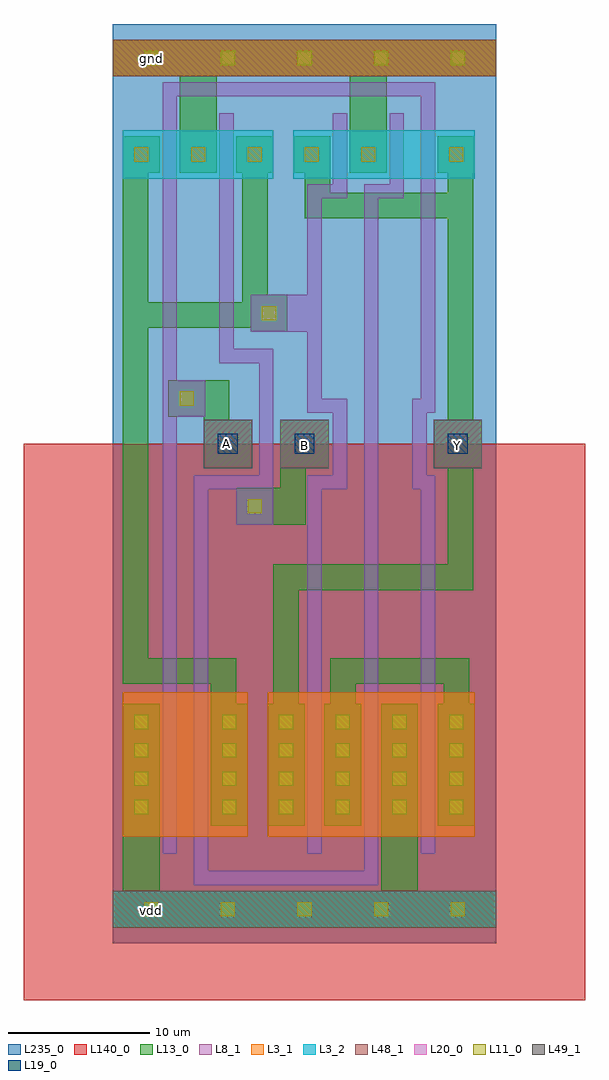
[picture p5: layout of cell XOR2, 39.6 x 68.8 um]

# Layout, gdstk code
import gdstk
lib = gdstk.Library(unit=1e-6, precision=1e-09)
def R(c, l, rs):  # rectangles x0, y0, x1, y1
    for r in rs: c.add(gdstk.rectangle(r[:2], r[2:], *l))
def A(c, l, x, y, w, h, nx, ny, dx, dy):  # array of equal rectangles
    R(c, l, [(x+i*dx, y+j*dy, x+i*dx+w, y+j*dy+h) for i in range(nx) for j in range(ny)])
def P(c, l, *ps):  # polygons
    for p in ps: c.add(gdstk.Polygon(p, *l))
L3_1 = (3, 1)
L3_2 = (3, 2)
L8_1 = (8, 1)
L11_0 = (11, 0)
L13_0 = (13, 0)
L19_0 = (19, 0)
L20_0 = (20, 0)
L48_1 = (48, 1)
L49_1 = (49, 1)
L140_0 = (140, 0)
L235_0 = (235, 0)

xor2 = lib.new_cell('XOR2')
R(xor2, L3_1, [(0.7,-57.3,9.5,-47.1), (10.9,-57.3,25.5,-47.1), (0,-3.7,27,-1.1)])
R(xor2, L3_2, [(0,-63.7,27,-61.1), (0.7,-10.9,11.3,-7.5), (12.7,-10.9,25.5,-7.5)])
P(xor2, L8_1, [(13.7,-58.5),(13.7,-31.8),(15.5,-31.8),(15.5,-27.4),(13.7,-27.4),(13.7,-21.7),(9.7,-21.7),(9.7,-19.1),(13.7,-19.1),(13.7,-11.3),(15.5,-11.3),(15.5,-6.3),(16.5,-6.3),(16.5,-12.3),(14.7,-12.3),(14.7,-26.4),(16.5,-26.4),(16.5,-32.8),(14.7,-32.8),(14.7,-58.5)],
  [(3.5,-58.5),(3.5,-4.1),(22.7,-4.1),(22.7,-27.4),(22.1,-27.4),(22.1,-31.8),(22.7,-31.8),(22.7,-58.5),(21.7,-58.5),(21.7,-32.8),(21.1,-32.8),(21.1,-26.4),(21.7,-26.4),(21.7,-5.1),(4.5,-5.1),(4.5,-25.1),(6.5,-25.1),(6.5,-27.7),(4.5,-27.7),(4.5,-58.5)],
  [(5.7,-60.7),(5.7,-31.8),(10.3,-31.8),(10.3,-23.9),(7.5,-23.9),(7.5,-6.3),(8.5,-6.3),(8.5,-22.9),(11.3,-22.9),(11.3,-35.3),(8.7,-35.3),(8.7,-32.8),(6.7,-32.8),(6.7,-59.7),(17.7,-59.7),(17.7,-11.3),(19.5,-11.3),(19.5,-6.3),(20.5,-6.3),(20.5,-12.3),(18.7,-12.3),(18.7,-60.7)])
A(xor2, L11_0, 2.2, -62.9, 1, 1, 5, 2, 5.4, 60)
A(xor2, L11_0, 1.5, -55.7, 1, 1, 1, 4, 0, 2)
A(xor2, L11_0, 7.7, -55.7, 1, 1, 5, 4, 4, 2)
A(xor2, L11_0, 1.5, -9.7, 1, 1, 5, 1, 4, 0)
R(xor2, L11_0, [(9.5,-34.5,10.5,-33.5), (4.7,-26.9,5.7,-25.9), (10.5,-20.9,11.5,-19.9), (17.5,-9.7,18.5,-8.7), (23.7,-9.7,24.7,-8.7)])
R(xor2, L13_0, [(0,-63.7,27,-61.1), (0.7,-61.1,3.3,-47.9), (18.9,-61.1,21.5,-47.9), (4.7,-10.5,7.3,-3.7), (16.7,-10.5,19.3,-7.9), (16.7,-10.5,19.3,-3.7), (0,-3.7,27,-1.1)])
P(xor2, L13_0, [(6.4,-31.3),(6.4,-27.7),(3.9,-27.7),(3.9,-25.1),(8.2,-25.1),(8.2,-27.9),(9.8,-27.9),(9.8,-31.3)],
  [(8.7,-35.3),(8.7,-32.7),(11.8,-32.7),(11.8,-27.9),(15.2,-27.9),(15.2,-31.3),(13.6,-31.3),(13.6,-35.3)],
  [(6.9,-56.5),(6.9,-46.5),(0.7,-46.5),(0.7,-7.9),(3.3,-7.9),(3.3,-10.5),(2.5,-10.5),(2.5,-19.6),(9.1,-19.6),(9.1,-10.5),(8.7,-10.5),(8.7,-7.9),(11.3,-7.9),(11.3,-10.5),(10.9,-10.5),(10.9,-19.1),(12.3,-19.1),(12.3,-21.7),(9.7,-21.7),(9.7,-21.4),(2.5,-21.4),(2.5,-44.7),(8.7,-44.7),(8.7,-47.9),(9.5,-47.9),(9.5,-56.5)],
  [(10.9,-56.5),(10.9,-47.9),(11.3,-47.9),(11.3,-38.1),(23.6,-38.1),(23.6,-31.3),(22.6,-31.3),(22.6,-27.9),(23.6,-27.9),(23.6,-13.7),(13.5,-13.7),(13.5,-10.5),(12.7,-10.5),(12.7,-7.9),(15.3,-7.9),(15.3,-11.9),(23.6,-11.9),(23.6,-10.5),(22.9,-10.5),(22.9,-7.9),(25.5,-7.9),(25.5,-10.5),(25.4,-10.5),(25.4,-27.9),(26,-27.9),(26,-31.3),(25.4,-31.3),(25.4,-39.9),(13.1,-39.9),(13.1,-47.9),(13.5,-47.9),(13.5,-56.5)],
  [(14.9,-56.5),(14.9,-47.9),(15.3,-47.9),(15.3,-44.7),(25.1,-44.7),(25.1,-47.9),(25.5,-47.9),(25.5,-56.5),(22.9,-56.5),(22.9,-47.9),(23.3,-47.9),(23.3,-46.5),(17.1,-46.5),(17.1,-47.9),(17.5,-47.9),(17.5,-56.5)])
R(xor2, L19_0, [(7.4,-30.3,8.8,-28.9), (7.4,-30.3,8.8,-28.9), (7.4,-30.3,8.8,-28.9), (12.8,-30.3,14.2,-28.9), (12.8,-30.3,14.2,-28.9), (12.8,-30.3,14.2,-28.9), (12.8,-30.3,14.2,-28.9), (23.6,-30.3,25,-28.9), (23.6,-30.3,25,-28.9), (23.6,-30.3,25,-28.9), (23.6,-30.3,25,-28.9)])
R(xor2, L20_0, [(6.4,-31.3,9.8,-27.9), (6.4,-31.3,9.8,-27.9), (6.4,-31.3,9.8,-27.9), (11.8,-31.3,15.2,-27.9), (11.8,-31.3,15.2,-27.9), (11.8,-31.3,15.2,-27.9), (11.8,-31.3,15.2,-27.9), (22.6,-31.3,26,-27.9), (22.6,-31.3,26,-27.9), (22.6,-31.3,26,-27.9), (22.6,-31.3,26,-27.9)])
R(xor2, L48_1, [(0,-63.7,27,-61.1), (0,-3.7,27,-1.1)])
R(xor2, L49_1, [(6.4,-31.3,9.8,-27.9), (11.8,-31.3,15.2,-27.9), (22.6,-31.3,26,-27.9)])
R(xor2, L140_0, [(-6.3,-68.8,33.3,-29.6)])
R(xor2, L235_0, [(0,-64.8,27,0)])
xor2.add(gdstk.Label('gnd', (2.7,-2.4), layer=48, texttype=0))
xor2.add(gdstk.Label('vdd', (2.7,-62.5), layer=48, texttype=0))
xor2.add(gdstk.Label('A', (8,-29.6), layer=49, texttype=0))
xor2.add(gdstk.Label('B', (13.5,-29.7), layer=49, texttype=0))
xor2.add(gdstk.Label('Y', (24.3,-29.7), layer=49, texttype=0))

lib.write_gds('XOR2.gds')
